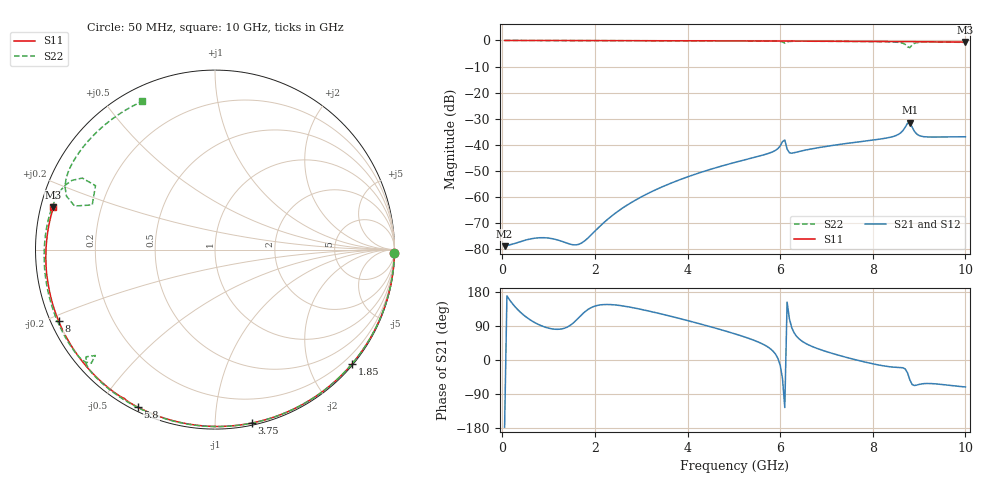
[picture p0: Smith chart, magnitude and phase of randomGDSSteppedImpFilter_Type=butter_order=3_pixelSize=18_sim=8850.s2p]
! freq	dB(S11)	phase(S11)	dB(S12)	phase(S12)
!  dB(S21)	phase(S21)	dB(S22)	phase(S22)
!S-par simulation data
#  GHz  S  DB  R 50
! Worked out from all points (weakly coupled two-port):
!   200 points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, 50 MHz to 10 GHz, reference 50 ohm
!   highest |S21| = -31.53 dB at 8.8 GHz (marker M1); lowest = -78.8 dB at 50 MHz (marker M2)
!   lowest |S11| = -0.6 dB at 10 GHz (marker M3), VSWR 27.85, Z = 1.83 + j6.44 ohm
!   |S11| at or under -10 dB: nowhere
!   |S22| runs from -2.8 to 0.0 dB; largest |S21 - S12| = 0
!   S11 on the Smith chart (normalised r, x): 50 MHz: open; 1.85 GHz: 0.03, -2.77; 3.75 GHz: 0.02, -1.24; 5.8 GHz: 0.02, -0.62; 8 GHz: 0.02, -0.22; 10 GHz: 0.04, +0.13
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0.05  -0.00 -1.1  -78.81 -177.2  -78.81 -177.2  -0.00 -1.2
0.8  -0.02 -17.4  -75.58 92.7  -75.58 92.7  -0.02 -19.7
1.55  -0.04 -33.4  -78.32 99.5  -78.32 99.5  -0.05 -37.8
1.75  -0.05 -37.6  -77.17 123.6  -77.17 123.6  -0.05 -42.5
1.85  -0.05 -39.7  -75.68 133.3  -75.68 133.3  -0.06 -44.9
2.55  -0.07 -54.2  -64.78 143.6  -64.78 143.6  -0.08 -61.2
3.4  -0.09 -71.1  -56.50 122.5  -56.50 122.5  -0.11 -80.4
3.75  -0.11 -77.9  -53.92 112.0  -53.92 112.0  -0.12 -88.1
5.05  -0.16 -102.4  -46.59 68.0  -46.59 68.0  -0.18 -116.3
5.8  -0.20 -116.0  -42.94 28.6  -42.94 28.6  -0.24 -133.0
6  -0.22 -119.7  -40.44 -13.1  -40.44 -13.1  -0.36 -138.5
6.1  -0.26 -121.4  -38.13 -125.4  -38.13 -125.4  -1.01 -138.5
6.2  -0.23 -123.0  -43.04 108.5  -43.04 108.5  -0.38 -139.1
6.7  -0.26 -132.0  -41.47 35.2  -41.47 35.2  -0.30 -151.7
8  -0.37 -155.5  -38.17 -10.0  -38.17 -10.0  -0.45 176.5
8.35  -0.41 -162.0  -37.20 -17.6  -37.20 -17.6  -0.55 166.2
8.55  -0.44 -165.7  -36.02 -19.4  -36.02 -19.4  -0.72 159.0
8.7  -0.45 -168.6  -33.26 -23.7  -33.26 -23.7  -1.51 151.7
8.8  -0.46 -170.4  -31.53 -52.2  -31.53 -52.2  -2.76 160.0
8.9  -0.47 -172.4  -34.86 -67.3  -34.86 -67.3  -1.12 160.2
9.05  -0.49 -175.3  -36.70 -63.2  -36.70 -63.2  -0.68 152.4
10  -0.62 165.3  -36.90 -71.1  -36.90 -71.1  -0.73 116.2
